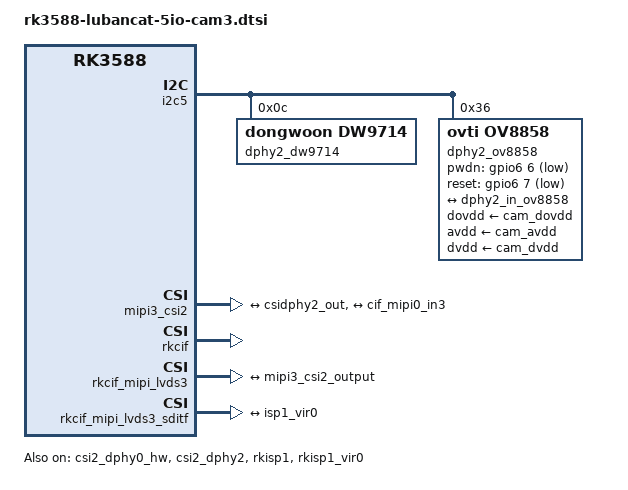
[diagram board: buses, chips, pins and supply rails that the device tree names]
// SPDX-License-Identifier: (GPL-2.0+ OR MIT)
/*
 * Copyright (c) 2020 Rockchip Electronics Co., Ltd.
 *
 */

#include "rk3588-lubancat-cam.dtsi"

/* Link path: sensor->csi2_dphy2->mipi3_csi2->rkcif_mipi_lvds3--->rkcif_mipi_lvds3_sditf->rkisp1_vir0 */
&i2c5 {
	status = "okay";
	pinctrl-names = "default";
	pinctrl-0 = <&i2c5m3_xfer>;

	dphy2_dw9714: dw9714@c {
		status = "okay";
		compatible = "dongwoon,dw9714";
		reg = <0xc>;
		rockchip,camera-module-index = <0>;
		rockchip,vcm-max-current = <100>;
		rockchip,vcm-start-current = <0>;
		rockchip,vcm-rated-current = <100>;
		rockchip,vcm-step-mode = <0xd>;
		rockchip,vcm-dlc-enable = <0>;
		rockchip,vcm-mclk = <0>;	
		rockchip,vcm-t-src = <0>;
		rockchip,camera-module-facing = "back";
	};

	dphy2_ov5647: ov5647@36 {
		compatible = "ovti,ov5647";
		status = "disabled";
		reg = <0x36>;
		clocks = <&ext_cam_25m_clk>;
		clock-names = "ext_cam_25m_clk";
		pwdn-gpios = <&gpio6 6 GPIO_ACTIVE_LOW>;
		lens-focus = <&dphy2_dw9714>;

		port {
			ov5647_dphy2_out: endpoint {
				remote-endpoint = <&dphy2_in_ov5647>;
				data-lanes = <1 2>;
			};
		};
	};

	dphy2_ov5648: ov5648@36 {
		compatible = "ovti,ov5648";
		status = "disabled";
		reg = <0x36>;
		clocks = <&ext_cam_24m_clk>;
		clock-names = "xvclk";
		dovdd-supply= <&cam_dovdd>; /* 1.8v */
		avdd-supply = <&cam_avdd>;  /* 2.8v */
		dvdd-supply = <&cam_dvdd>;  /* 1.2v */
		pwdn-gpios = <&gpio6 6 GPIO_ACTIVE_HIGH>;
		reset-gpios = <&gpio6 7 GPIO_ACTIVE_LOW>;
		rotation = <180>;

		rockchip,camera-module-index = <2>;
		rockchip,camera-module-facing = "back";
		rockchip,camera-module-name = "THDS11073";
		rockchip,camera-module-lens-name = "Largan-40122a1";
		lens-focus = <&dphy2_dw9714>;

		port {
			/* MIPI CSI-2 bus endpoint */
			ov5648_dphy2_out: endpoint {
				remote-endpoint = <&dphy2_in_ov5648>;
				clock-lanes = <0>;
				data-lanes = <1 2>;
			};
		};
	};

	dphy2_ov8858: ov8858@36 {
		compatible = "ovti,ov8858";
		status = "okay";
		reg = <0x36>;
		clocks = <&ext_cam_24m_clk>;
		clock-names = "xvclk";
		dovdd-supply= <&cam_dovdd>; /* 1.8v */
		avdd-supply = <&cam_avdd>;  /* 2.8v */
		dvdd-supply = <&cam_dvdd>;  /* 1.2v */
		pwdn-gpios = <&gpio6 6 GPIO_ACTIVE_LOW>;
		reset-gpios = <&gpio6 7 GPIO_ACTIVE_LOW>;
		rotation = <180>;

		rockchip,camera-module-index = <2>;
		rockchip,camera-module-facing = "back";
		rockchip,camera-module-name = "HS5885-BNSM1018-V01";
		rockchip,camera-module-lens-name = "default";
		lens-focus = <&dphy2_dw9714>;

		port {
			/* MIPI CSI-2 bus endpoint */
			ov8858_dphy2_out: endpoint {
				remote-endpoint = <&dphy2_in_ov8858>;
				clock-lanes = <0>;
				data-lanes = <1 2>;
			};
		};
	};

    dphy2_ov13850: ov13850@10 {
		compatible = "ovti,ov13850";
		status = "disabled";
		reg = <0x10>;
		clocks = <&ext_cam_24m_clk>;
		clock-names = "xvclk";
		dovdd-supply= <&cam_dovdd>; /* 1.8v */
		avdd-supply = <&cam_avdd>;  /* 2.8v */
		dvdd-supply = <&cam_dvdd>;  /* 1.2v */
		pwdn-gpios = <&gpio6 6 GPIO_ACTIVE_HIGH>;
		reset-gpios = <&gpio6 7 GPIO_ACTIVE_HIGH>;
		rotation = <180>;

		rockchip,camera-module-index = <2>;
		rockchip,camera-module-facing = "back";
		rockchip,camera-module-name = "ZC-OV13850R2A-V1";
		rockchip,camera-module-lens-name = "Largan-50064B31";
		lens-focus = <&dphy2_dw9714>;

		port {
			/* MIPI CSI-2 bus endpoint */
			ov13850_dphy2_out: endpoint {
				remote-endpoint = <&dphy2_in_ov13850>;
				clock-lanes = <0>;
				data-lanes = <1 2>;
			};
		};
    };
};

&csi2_dphy0_hw {
	status = "okay";
};

&csi2_dphy2 {
	status = "okay";
	
	ports {
		#address-cells = <1>;
		#size-cells = <0>;

		port@0 {
			reg = <0>;
			#address-cells = <1>;
			#size-cells = <0>;

			dphy2_in_ov5648: endpoint@1 {
				reg = <1>;
				remote-endpoint = <&ov5648_dphy2_out>;
				data-lanes = <1 2>;
			};

			dphy2_in_ov8858: endpoint@2 {
				reg = <2>;
				remote-endpoint = <&ov8858_dphy2_out>;
				data-lanes = <1 2>;
			};

			dphy2_in_ov13850: endpoint@3 {
				reg = <3>;
				remote-endpoint = <&ov13850_dphy2_out>;
				data-lanes = <1 2>;
			};

			dphy2_in_ov5647: endpoint@4 {
				reg = <4>;
				remote-endpoint = <&ov5647_dphy2_out>;
				data-lanes = <1 2>;
			};
		};

		port@1 {
			reg = <1>;
			#address-cells = <1>;
			#size-cells = <0>;

			csidphy2_out: endpoint@0 {
				reg = <0>;
				remote-endpoint = <&mipi3_csi2_input>;
			};
		};
	};
};

&mipi3_csi2 {
	status = "okay";

	ports {
		#address-cells = <1>;
		#size-cells = <0>;

		port@0 {
			reg = <0>;
			#address-cells = <1>;
			#size-cells = <0>;

			mipi3_csi2_input: endpoint@1 {
				reg = <1>;
				remote-endpoint = <&csidphy2_out>;
			};
		};

		port@1 {
			reg = <1>;
			#address-cells = <1>;
			#size-cells = <0>;

			mipi3_csi2_output: endpoint@0 {
				reg = <0>;
				remote-endpoint = <&cif_mipi0_in3>;
			};
		};
	};
};

&rkcif {
	status = "okay";
};

&rkcif_mipi_lvds3 {
	status = "okay";

	port {
		cif_mipi0_in3: endpoint {
			remote-endpoint = <&mipi3_csi2_output>;
		};
	};
};

&rkcif_mipi_lvds3_sditf {
	status = "okay";

	port {
		mipi_lvds3_sditf: endpoint {
			remote-endpoint = <&isp1_vir0>;
		};
	};
};

&rkcif_mmu {
	status = "okay";
};

&rkisp1 {
	status = "okay";
};

&isp1_mmu {
	status = "okay";
};

&rkisp1_vir0 {
	status = "okay";

	port {
		#address-cells = <1>;
		#size-cells = <0>;

		isp1_vir0: endpoint@0 {
			reg = <0>;
			remote-endpoint = <&mipi_lvds3_sditf>;
		};
	};
};

